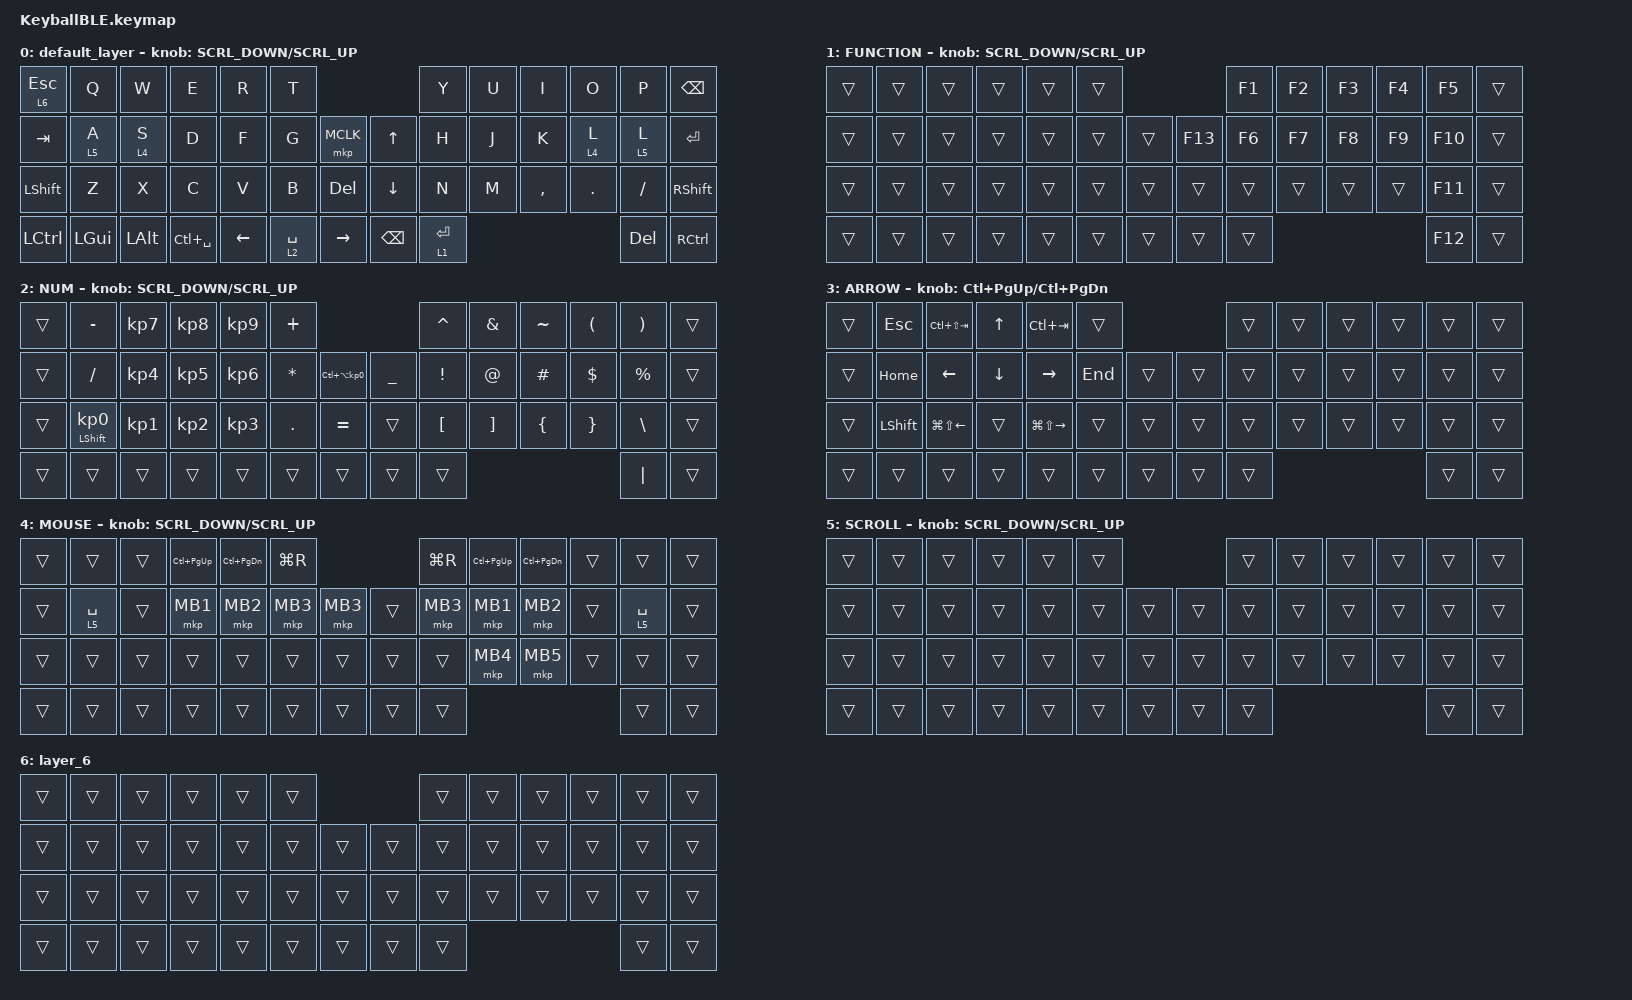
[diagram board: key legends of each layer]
#define ZMK_POINTING_DEFAULT_SCRL_VAL 120    // default: 10

#include <behaviors.dtsi>
#include <dt-bindings/zmk/bt.h>
#include <dt-bindings/zmk/keys.h>
#include <dt-bindings/zmk/pointing.h>

#define MOUSE 4
#define SCROLL 5
#define NUM 6

&mt {
    flavor = "balanced";
    quick-tap-ms = <0>;
};

/ {
    combos {
        compatible = "zmk,combos";

        double_quotation {
            bindings = <&kp DOUBLE_QUOTES>;
            key-positions = <20 21>;
        };
    };

    macros {
        to_layer_0: to_layer_0 {
            compatible = "zmk,behavior-macro-one-param";
            #binding-cells = <1>;
            bindings = <&to 0 &macro_param_1to1 &kp MACRO_PLACEHOLDER>;
            label = "TO_LAYER_0";
        };
    };

    behaviors {
        lt_to_layer_0: lt_to_layer_0 {
            compatible = "zmk,behavior-hold-tap";
            label = "LAYER_TAP_TO_0";
            bindings = <&mo>, <&to_layer_0>;

            #binding-cells = <2>;
            tapping-term-ms = <200>;
        };

        ROTATE: ROTATE {
            compatible = "zmk,behavior-sensor-rotate-var";
            label = "ROTATE";
            #sensor-binding-cells = <2>;
            bindings = <&msc>, <&msc>;

            tap-ms = <20>;
        };
    };

    keymap {
        compatible = "zmk,keymap";

        default_layer {
            bindings = <
&lt 6 ESC  &kp Q     &kp W     &kp E          &kp R           &kp T                                           &kp Y        &kp U  &kp I      &kp O    &kp P     &kp BSPC
&kp TAB    &lt 5 A   &lt 4 S   &kp D          &kp F           &kp G        &mkp MCLK          &kp UP_ARROW    &kp H        &kp J  &kp K      &lt 4 L  &lt 5 L   &kp ENTER
&kp LSHFT  &kp Z     &kp X     &kp C          &kp V           &kp B        &kp DELETE         &kp DOWN_ARROW  &kp N        &kp M  &kp COMMA  &kp DOT  &kp FSLH  &kp RSHFT
&kp LCTRL  &kp LGUI  &kp LALT  &kp LC(SPACE)  &kp LEFT_ARROW  &lt 2 SPACE  &kp RIGHT_ARROW    &kp BACKSPACE   &lt 1 ENTER                             &kp DEL   &kp RCTRL
            >;

            sensor-bindings = <&ROTATE SCRL_DOWN SCRL_UP>;
        };

        FUNCTION {
            bindings = <
&trans  &trans  &trans  &trans  &trans  &trans                     &kp F1  &kp F2  &kp F3  &kp F4  &kp F5   &trans
&trans  &trans  &trans  &trans  &trans  &trans  &trans    &kp F13  &kp F6  &kp F7  &kp F8  &kp F9  &kp F10  &trans
&trans  &trans  &trans  &trans  &trans  &trans  &trans    &trans   &trans  &trans  &trans  &trans  &kp F11  &trans
&trans  &trans  &trans  &trans  &trans  &trans  &trans    &trans   &trans                          &kp F12  &trans
            >;

            sensor-bindings = <&ROTATE SCRL_DOWN SCRL_UP>;
        };

        NUM {
            bindings = <
&trans  &kp MINUS                   &kp KP_NUMBER_7  &kp KP_NUMBER_8  &kp KP_NUMBER_9  &kp PLUS                                                 &kp CARET         &kp AMPERSAND      &kp TILDE       &kp LEFT_PARENTHESIS  &kp RIGHT_PARENTHESIS  &trans
&trans  &kp SLASH                   &kp KP_NUMBER_4  &kp KP_NUMBER_5  &kp KP_NUMBER_6  &kp ASTERISK  &kp LC(LA(KP_NUMBER_0))    &kp UNDERSCORE  &kp EXCLAMATION   &kp AT_SIGN        &kp HASH        &kp DOLLAR            &kp PERCENT            &trans
&trans  &mt LEFT_SHIFT KP_NUMBER_0  &kp KP_NUMBER_1  &kp KP_NUMBER_2  &kp KP_NUMBER_3  &kp PERIOD    &kp EQUAL                  &trans          &kp LEFT_BRACKET  &kp RIGHT_BRACKET  &kp LEFT_BRACE  &kp RIGHT_BRACE       &kp BACKSLASH          &trans
&trans  &trans                      &trans           &trans           &trans           &trans        &trans                     &trans          &trans                                                                     &kp PIPE               &trans
            >;

            sensor-bindings = <&ROTATE SCRL_DOWN SCRL_UP>;
        };

        ARROW {
            bindings = <
&trans  &kp ESCAPE      &kp LC(LS(TAB))         &kp UP_ARROW    &kp LC(TAB)              &trans                     &trans  &trans  &trans  &trans  &trans  &trans
&trans  &kp HOME        &kp LEFT_ARROW          &kp DOWN_ARROW  &kp RIGHT_ARROW          &kp END  &trans    &trans  &trans  &trans  &trans  &trans  &trans  &trans
&trans  &kp LEFT_SHIFT  &kp LG(LS(LEFT_ARROW))  &trans          &kp LG(LS(RIGHT_ARROW))  &trans   &trans    &trans  &trans  &trans  &trans  &trans  &trans  &trans
&trans  &trans          &trans                  &trans          &trans                   &trans   &trans    &trans  &trans                          &trans  &trans
            >;

            sensor-bindings = <&inc_dec_kp LC(PAGE_UP) LC(PAGE_DOWN)>;
        };

        MOUSE {
            bindings = <
&trans  &trans       &trans  &kp LC(PAGE_UP)  &kp LC(PAGE_DOWN)  &kp LG(R)                      &kp LG(R)  &kp LC(PAGE_UP)  &kp LC(PAGE_DOWN)  &trans  &trans       &trans
&trans  &lt 5 SPACE  &trans  &mkp MB1         &mkp MB2           &mkp MB3   &mkp MB3    &trans  &mkp MB3   &mkp MB1         &mkp MB2           &trans  &lt 5 SPACE  &trans
&trans  &trans       &trans  &trans           &trans             &trans     &trans      &trans  &trans     &mkp MB4         &mkp MB5           &trans  &trans       &trans
&trans  &trans       &trans  &trans           &trans             &trans     &trans      &trans  &trans                                                 &trans       &trans
            >;

            sensor-bindings = <&ROTATE SCRL_DOWN SCRL_UP>;
        };

        SCROLL {
            bindings = <
&trans  &trans  &trans  &trans  &trans  &trans                    &trans  &trans  &trans  &trans  &trans  &trans
&trans  &trans  &trans  &trans  &trans  &trans  &trans    &trans  &trans  &trans  &trans  &trans  &trans  &trans
&trans  &trans  &trans  &trans  &trans  &trans  &trans    &trans  &trans  &trans  &trans  &trans  &trans  &trans
&trans  &trans  &trans  &trans  &trans  &trans  &trans    &trans  &trans                          &trans  &trans
            >;

            sensor-bindings = <&ROTATE SCRL_DOWN SCRL_UP>;
        };

        layer_6 {
            bindings = <
&trans  &trans  &trans        &trans        &trans        &trans                       &trans        &trans        &trans        &trans        &trans          &trans
&trans  &trans  &trans        &trans        &trans        &trans     &trans    &trans  &trans        &trans        &trans        &trans        &trans          &trans
&trans  &trans  &trans        &trans        &trans        &trans     &trans    &trans  &trans        &trans        &trans        &trans        &trans          &trans
&trans  &trans  &trans        &trans        &trans        &trans     &trans    &trans  &trans                                                  &trans          &trans
            >;
        };
    };
};
